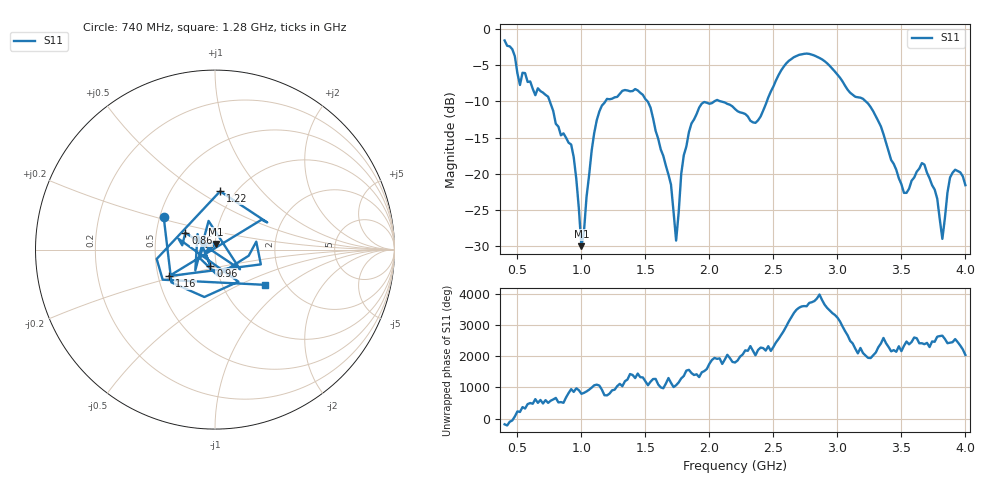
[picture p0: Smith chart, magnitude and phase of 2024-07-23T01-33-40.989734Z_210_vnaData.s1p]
!Created with skrf (http://scikit-rf.org).
# Hz S RI R 50.0
!freq ReS11 ImS11
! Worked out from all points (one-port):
!   181 points, 400 MHz to 4 GHz, reference 50 ohm
!   lowest |S11| = -30.0 dB at 1 GHz (marker M1), VSWR 1.07, Z = 50.6 + j3.15 ohm
!   |S11| at or under -10 dB: 752.8 MHz to 1.188 GHz (435.5 MHz wide, 44.9 % of centre); 1.515 GHz to 2.04 GHz (525 MHz wide, 29.5 % of centre); 3.22 GHz to end of sweep (the widest 3 of 4)
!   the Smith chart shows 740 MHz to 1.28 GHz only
!   S11 on the Smith chart (normalised r, x): 740 MHz: 0.52, +0.22; 860 MHz: 0.71, +0.14; 960 MHz: 0.94, -0.17; 1.16 GHz: 0.57, -0.18; 1.22 GHz: 0.85, +0.62; 1.28 GHz: 1.57, -0.70
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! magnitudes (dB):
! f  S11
! 400 MHz  -1.6
! 520 MHz  -7.8
! 740 MHz  -9.4
! 860 MHz  -14.4
! 960 MHz  -20.7
! 1 GHz  -30.0
! 1.1 GHz  -14.4
! 1.16 GHz  -10.6
! 1.22 GHz  -9.7
! 1.28 GHz  -9.4
! 1.3 GHz  -9.0
! 1.52 GHz  -10.1
! 1.7 GHz  -21.5
! 1.74 GHz  -29.2
! 1.76 GHz  -25.3
! 1.8 GHz  -17.4
! 1.92 GHz  -10.9
! 2.2 GHz  -11.1
! 2.36 GHz  -13.0
! 2.66 GHz  -3.9
! 3.1 GHz  -8.8
! 3.28 GHz  -11.4
! 3.56 GHz  -22.0
! 3.68 GHz  -18.7
! 3.78 GHz  -23.4
! 3.82 GHz  -29.0
! 3.88 GHz  -20.5
! 4 GHz  -21.6
